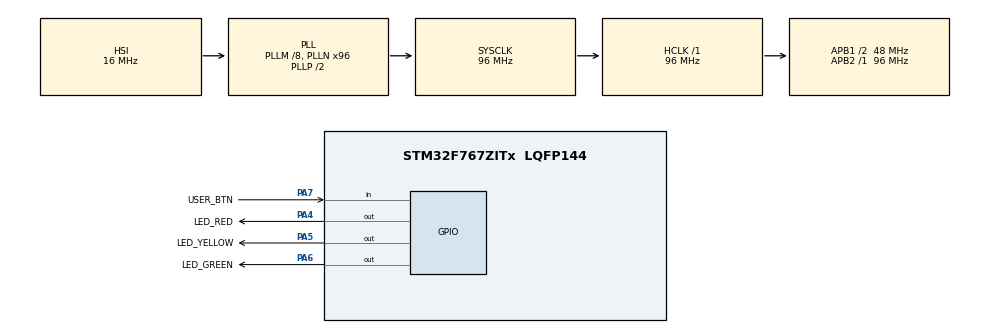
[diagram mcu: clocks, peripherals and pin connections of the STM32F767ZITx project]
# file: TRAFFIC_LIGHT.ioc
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Mcu.Family=STM32F7
Mcu.Name=STM32F767ZITx
Mcu.Package=LQFP144
NVIC.PriorityGroup=NVIC_PRIORITYGROUP_4
PA4.GPIO_Label=LED_RED
PA4.Signal=GPIO_Output
PA5.GPIO_Label=LED_YELLOW
PA5.Signal=GPIO_Output
PA6.GPIO_Label=LED_GREEN
PA6.Signal=GPIO_Output
PA7.GPIO_Label=USER_BTN
PA7.Signal=GPIO_Input
ProjectManager.HeapSize=0x200
ProjectManager.StackSize=0x400
ProjectManager.TargetToolchain=STM32CubeIDE
RCC.48MHZClocksFreq_Value=24000000
RCC.AHBFreq_Value=96000000
RCC.APB1CLKDivider=RCC_HCLK_DIV2
RCC.APB1Freq_Value=48000000
RCC.APB1TimFreq_Value=96000000
RCC.APB2Freq_Value=96000000
RCC.APB2TimFreq_Value=96000000
RCC.CortexFreq_Value=96000000
RCC.HCLKFreq_Value=96000000
RCC.HSE_VALUE=8000000
RCC.HSI_VALUE=16000000
RCC.LSE_VALUE=32768
RCC.PLLM=8
RCC.PLLMUL=RCC_PLL_MUL9
RCC.PLLN=96
RCC.PLLQ=4
RCC.PRESCALERUSB=RCC_USBCLKSOURCE_PLL_DIV1_5
RCC.SYSCLKFreq_VALUE=96000000
RCC.SYSCLKSource=RCC_SYSCLKSOURCE_PLLCLK
RCC.SYSCLKSourceVirtual=RCC_SYSCLKSOURCE_PLLCLK
RCC.USBFreq_Value=48000000
RCC.VCOOutputFreq_Value=192000000
TIM2.Prescaler=54-1
VP_TIM2_VS_ClockSourceINT.Mode=Internal
board=NUCLEO-F767ZI

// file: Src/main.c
/* USER CODE BEGIN Header */
/**
  ******************************************************************************
  * @file           : main.c
  * @brief          : Main program body
  ******************************************************************************
  * @attention
  *
  * Copyright (c) 2025 STMicroelectronics.
  * All rights reserved.
  *
  * This software is licensed under terms that can be found in the LICENSE file
  * in the root directory of this software component.
  * If no LICENSE file comes with this software, it is provided AS-IS.
  *
  ******************************************************************************
  */
/* USER CODE END Header */
#include "main.h"

TIM_HandleTypeDef htim2;

void SystemClock_Config(void);
static void MX_GPIO_Init(void);
static void MX_TIM2_Init(void);

int main(void)
{

  /* MCU Configuration--------------------------------------------------------*/

  /* Reset of all peripherals, Initializes the Flash interface and the Systick. */
  HAL_Init();

  /* Configure the system clock */
  SystemClock_Config();

  /* Initialize all configured peripherals */
  MX_GPIO_Init();
  MX_TIM2_Init();

  /* Infinite loop */
  while (1)
  {

    /* USER CODE BEGIN 3 */

    HAL_GPIO_WritePin(LED_RED_GPIO_Port, LED_RED_Pin, GPIO_PIN_SET);
    HAL_GPIO_WritePin(LED_YELLOW_GPIO_Port, LED_YELLOW_Pin, GPIO_PIN_RESET);
    HAL_GPIO_WritePin(LED_GREEN_GPIO_Port, LED_GREEN_Pin, GPIO_PIN_RESET);

    uint32_t red_start = HAL_GetTick();
    uint32_t red_duration = 20000;
    int red_extended = 0;

    GPIO_PinState button_val = HAL_GPIO_ReadPin(USER_BTN_GPIO_Port, USER_BTN_Pin);

    while (HAL_GetTick() - red_start < red_duration)
    {
      button_val = HAL_GPIO_ReadPin(USER_BTN_GPIO_Port, USER_BTN_Pin);
        if (!red_extended && (button_val == GPIO_PIN_SET))
        {
            red_duration += 10000;
            red_extended = 1;
        }
    }

    // RED + YELLOW
    HAL_GPIO_WritePin(LED_YELLOW_GPIO_Port, LED_YELLOW_Pin, GPIO_PIN_SET);
    HAL_Delay(5000);

    // GREEN ONLY
    HAL_GPIO_WritePin(LED_RED_GPIO_Port, LED_RED_Pin, GPIO_PIN_RESET);
    HAL_GPIO_WritePin(LED_YELLOW_GPIO_Port, LED_YELLOW_Pin, GPIO_PIN_RESET);
    HAL_GPIO_WritePin(LED_GREEN_GPIO_Port, LED_GREEN_Pin, GPIO_PIN_SET);

    uint32_t green_start = HAL_GetTick();
    int green_pressed = 0;

    while (HAL_GetTick() - green_start < 10000)
    {
        if (HAL_GPIO_ReadPin(USER_BTN_GPIO_Port, USER_BTN_Pin) == GPIO_PIN_SET)
        {
            green_pressed = 1;
            break;
        }
    }

    if (green_pressed)
    {
        HAL_GPIO_WritePin(LED_YELLOW_GPIO_Port, LED_YELLOW_Pin, GPIO_PIN_SET);
        HAL_Delay(5000);

        HAL_GPIO_WritePin(LED_GREEN_GPIO_Port, LED_GREEN_Pin, GPIO_PIN_RESET);
        HAL_GPIO_WritePin(LED_YELLOW_GPIO_Port, LED_YELLOW_Pin, GPIO_PIN_RESET);
        HAL_GPIO_WritePin(LED_RED_GPIO_Port, LED_RED_Pin, GPIO_PIN_SET);

        HAL_Delay(20000);
    }
    else
    {
        HAL_GPIO_WritePin(LED_GREEN_GPIO_Port, LED_GREEN_Pin, GPIO_PIN_RESET);
    }
  }
  /* USER CODE END 3 */
}

void SystemClock_Config(void)
{
  RCC_OscInitTypeDef RCC_OscInitStruct = {0};
  RCC_ClkInitTypeDef RCC_ClkInitStruct = {0};

  /** Configure the main internal regulator output voltage
  */
  __HAL_RCC_PWR_CLK_ENABLE();
  __HAL_PWR_VOLTAGESCALING_CONFIG(PWR_REGULATOR_VOLTAGE_SCALE3);

  /** Initializes the RCC Oscillators according to the specified parameters
  * in the RCC_OscInitTypeDef structure.
  */
  RCC_OscInitStruct.OscillatorType = RCC_OSCILLATORTYPE_HSI;
  RCC_OscInitStruct.HSIState = RCC_HSI_ON;
  RCC_OscInitStruct.HSICalibrationValue = RCC_HSICALIBRATION_DEFAULT;
  RCC_OscInitStruct.PLL.PLLState = RCC_PLL_ON;
  RCC_OscInitStruct.PLL.PLLSource = RCC_PLLSOURCE_HSI;
  RCC_OscInitStruct.PLL.PLLM = 8;
  RCC_OscInitStruct.PLL.PLLN = 96;
  RCC_OscInitStruct.PLL.PLLP = RCC_PLLP_DIV2;
  RCC_OscInitStruct.PLL.PLLQ = 4;
  RCC_OscInitStruct.PLL.PLLR = 2;
  if (HAL_RCC_OscConfig(&RCC_OscInitStruct) != HAL_OK)
  {
    Error_Handler();
  }

  /** Activate the Over-Drive mode
  */
  if (HAL_PWREx_EnableOverDrive() != HAL_OK)
  {
    Error_Handler();
  }

  /** Initializes the CPU, AHB and APB buses clocks
  */
  RCC_ClkInitStruct.ClockType = RCC_CLOCKTYPE_HCLK|RCC_CLOCKTYPE_SYSCLK
                              |RCC_CLOCKTYPE_PCLK1|RCC_CLOCKTYPE_PCLK2;
  RCC_ClkInitStruct.SYSCLKSource = RCC_SYSCLKSOURCE_PLLCLK;
  RCC_ClkInitStruct.AHBCLKDivider = RCC_SYSCLK_DIV1;
  RCC_ClkInitStruct.APB1CLKDivider = RCC_HCLK_DIV2;
  RCC_ClkInitStruct.APB2CLKDivider = RCC_HCLK_DIV1;

  if (HAL_RCC_ClockConfig(&RCC_ClkInitStruct, FLASH_LATENCY_3) != HAL_OK)
  {
    Error_Handler();
  }
}

static void MX_TIM2_Init(void)
{

  TIM_ClockConfigTypeDef sClockSourceConfig = {0};
  TIM_MasterConfigTypeDef sMasterConfig = {0};

  htim2.Instance = TIM2;
  htim2.Init.Prescaler = 54-1;
  htim2.Init.CounterMode = TIM_COUNTERMODE_UP;
  htim2.Init.Period = 4294967295;
  htim2.Init.ClockDivision = TIM_CLOCKDIVISION_DIV1;
  htim2.Init.AutoReloadPreload = TIM_AUTORELOAD_PRELOAD_DISABLE;
  if (HAL_TIM_Base_Init(&htim2) != HAL_OK)
  {
    Error_Handler();
  }
  sClockSourceConfig.ClockSource = TIM_CLOCKSOURCE_INTERNAL;
  if (HAL_TIM_ConfigClockSource(&htim2, &sClockSourceConfig) != HAL_OK)
  {
    Error_Handler();
  }
  sMasterConfig.MasterOutputTrigger = TIM_TRGO_RESET;
  sMasterConfig.MasterSlaveMode = TIM_MASTERSLAVEMODE_DISABLE;
  if (HAL_TIMEx_MasterConfigSynchronization(&htim2, &sMasterConfig) != HAL_OK)
  {
    Error_Handler();
  }

}

static void MX_GPIO_Init(void)
{
  GPIO_InitTypeDef GPIO_InitStruct = {0};

  /* GPIO Ports Clock Enable */
  __HAL_RCC_GPIOA_CLK_ENABLE();

  /*Configure GPIO pin Output Level */
  HAL_GPIO_WritePin(GPIOA, LED_RED_Pin|LED_YELLOW_Pin|LED_GREEN_Pin, GPIO_PIN_RESET);

  /*Configure GPIO pins : LED_RED_Pin LED_YELLOW_Pin LED_GREEN_Pin */
  GPIO_InitStruct.Pin = LED_RED_Pin|LED_YELLOW_Pin|LED_GREEN_Pin;
  GPIO_InitStruct.Mode = GPIO_MODE_OUTPUT_PP;
  GPIO_InitStruct.Pull = GPIO_NOPULL;
  GPIO_InitStruct.Speed = GPIO_SPEED_FREQ_LOW;
  HAL_GPIO_Init(GPIOA, &GPIO_InitStruct);

  /*Configure GPIO pin : PA7 */
  GPIO_InitStruct.Pin = GPIO_PIN_7;
  GPIO_InitStruct.Mode = GPIO_MODE_INPUT;
  GPIO_InitStruct.Pull = GPIO_NOPULL;
  HAL_GPIO_Init(GPIOA, &GPIO_InitStruct);

}

void Error_Handler(void)
{
  __disable_irq();
  while (1)
  {
  }
}
